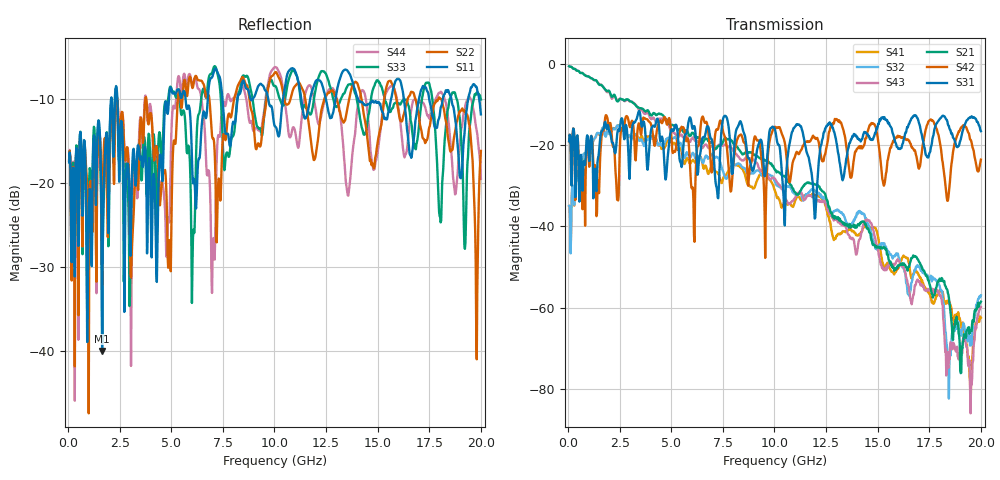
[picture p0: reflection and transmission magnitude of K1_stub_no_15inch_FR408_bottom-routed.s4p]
! FILE: D:\users\goganessyan\Molex Channels for Eric\15inch_FR408_bottom-routed.s4p
# MHz S MA R 50.00
! FREQ  S11  S12  S13  S14
!  S21  S22  S23  S24
!  S31  S32  S33  S34
!  S41  S42  S43  S44
!  MAG  ANG  MAG  ANG  MAG  ANG  MAG  ANG
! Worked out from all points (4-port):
!   799 points, 50 MHz to 20 GHz, reference 50 ohm
!   strongest paths, dB at 50 MHz, 5.025 GHz, 10.03 GHz, 15.03 GHz, 20 GHz:
!     S31: -19.0, -16.1, -16.2, -14.8, -16.6
!     S42: -19.1, -19.7, -15.5, -19.0, -23.6
!     S21: -0.6, -15.0, -26.1, -45.0, -58.5
!     S43: -0.6, -16.6, -28.3, -46.0, -59.9
!     S32: -35.0, -18.5, -29.1, -45.0, -57.0
!     S41: -35.0, -19.6, -31.2, -42.7, -62.5
!   lowest |S11| = -40.0 dB at 1.65 GHz (marker M1), VSWR 1.02, Z = 49 + j0.0785 ohm
!   |S11| at or under -10 dB: start of sweep to 2.082 GHz; 2.387 GHz to 4.889 GHz (2.502 GHz wide, 68.8 % of centre); 14.05 GHz to 15.65 GHz (1.592 GHz wide, 10.7 % of centre)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
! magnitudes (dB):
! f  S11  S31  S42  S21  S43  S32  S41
! 50 MHz  -17.5  -19.0  -19.1  -0.6  -0.6  -35.0  -35.0
! 1.65 GHz  -40.0  -16.4  -16.9  -5.4  -5.3  -16.0  -16.0
! 11.15 GHz  -7.8  -14.9  -22.1  -32.2  -31.7  -32.0  -32.5
! 11.97 GHz  -8.0  -37.9  -18.4  -29.7  -33.5  -31.4  -32.5
! 14.28 GHz  -10.4  -18.0  -20.5  -38.8  -40.2  -36.9  -40.6
! 18.43 GHz  -8.9  -15.2  -32.9  -56.8  -74.8  -75.3  -59.0
! 20 GHz  -11.8  -16.6  -23.6  -58.5  -59.9  -57.0  -62.5
